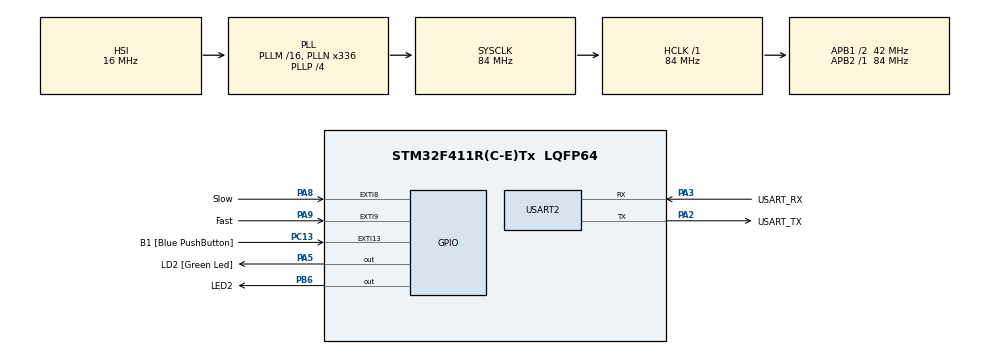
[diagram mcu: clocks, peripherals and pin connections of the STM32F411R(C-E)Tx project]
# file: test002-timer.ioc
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Mcu.Family=STM32F4
Mcu.Name=STM32F411R(C-E)Tx
Mcu.Package=LQFP64
NVIC.EXTI15_10_IRQn=true\:0\:0\:false\:false\:true\:true\:true\:true
NVIC.EXTI9_5_IRQn=true\:0\:0\:false\:false\:true\:true\:true\:true
NVIC.PriorityGroup=NVIC_PRIORITYGROUP_0
NVIC.TIM2_IRQn=true\:0\:0\:false\:false\:true\:true\:true\:true
NVIC.TIM3_IRQn=true\:0\:0\:false\:false\:true\:true\:true\:true
PA13.GPIO_Label=TMS
PA13.Mode=Serial_Wire
PA13.Signal=SYS_JTMS-SWDIO
PA14.GPIO_Label=TCK
PA14.Mode=Serial_Wire
PA14.Signal=SYS_JTCK-SWCLK
PA2.GPIO_Label=USART_TX
PA2.Mode=Asynchronous
PA2.Signal=USART2_TX
PA3.GPIO_Label=USART_RX
PA3.Mode=Asynchronous
PA3.Signal=USART2_RX
PA5.GPIO_Label=LD2 [Green Led]
PA5.Signal=GPIO_Output
PA8.GPIO_Label=Slow
PA8.Signal=GPXTI8
PA9.GPIO_Label=Fast
PA9.Signal=GPXTI9
PB3.GPIO_Label=SWO
PB3.Signal=SYS_JTDO-SWO
PB6.GPIO_Label=LED2
PB6.Signal=GPIO_Output
PC13-ANTI_TAMP.GPIO_Label=B1 [Blue PushButton]
PC13-ANTI_TAMP.GPIO_ModeDefaultEXTI=GPIO_MODE_IT_FALLING
PC13-ANTI_TAMP.Signal=GPXTI13
PC14-OSC32_IN.Mode=LSE-External-Oscillator
PC14-OSC32_IN.Signal=RCC_OSC32_IN
PC15-OSC32_OUT.Mode=LSE-External-Oscillator
PC15-OSC32_OUT.Signal=RCC_OSC32_OUT
PH0\ -\ OSC_IN.Mode=HSE-External-Clock-Source
PH0\ -\ OSC_IN.Signal=RCC_OSC_IN
PH1\ -\ OSC_OUT.Mode=HSE-External-Clock-Source
PH1\ -\ OSC_OUT.Signal=RCC_OSC_OUT
ProjectManager.HeapSize=0x200
ProjectManager.StackSize=0x400
ProjectManager.TargetToolchain=STM32CubeIDE
RCC.48MHZClocksFreq_Value=84000000
RCC.AHBFreq_Value=84000000
RCC.APB1CLKDivider=RCC_HCLK_DIV2
RCC.APB1Freq_Value=42000000
RCC.APB1TimFreq_Value=84000000
RCC.APB2Freq_Value=84000000
RCC.APB2TimFreq_Value=84000000
RCC.CortexFreq_Value=84000000
RCC.FLatency-AdvancedSettings=FLASH_LATENCY_2
RCC.HCLKFreq_Value=84000000
RCC.HSE_VALUE=8000000
RCC.HSI_VALUE=16000000
RCC.PLLN=336
RCC.PLLP=RCC_PLLP_DIV4
RCC.SYSCLKFreq_VALUE=84000000
RCC.SYSCLKSource=RCC_SYSCLKSOURCE_PLLCLK
RCC.VCOOutputFreq_Value=336000000
TIM2.Period=10000-1
TIM2.Prescaler=8400-1
TIM3.Period=10000-1
TIM3.Prescaler=8400-1
USART2.VirtualMode=VM_ASYNC
VP_TIM2_VS_ClockSourceINT.Mode=Internal
VP_TIM3_VS_ClockSourceINT.Mode=Internal
board=NUCLEO-F411RE

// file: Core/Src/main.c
/* USER CODE BEGIN Header */
/**
  ******************************************************************************
  * @file           : main.c
  * @brief          : Main program body
  ******************************************************************************
  * @attention
  *
  * Copyright (c) 2024 STMicroelectronics.
  * All rights reserved.
  *
  * This software is licensed under terms that can be found in the LICENSE file
  * in the root directory of this software component.
  * If no LICENSE file comes with this software, it is provided AS-IS.
  *
  ******************************************************************************
  */
/* USER CODE END Header */
#include "main.h"

TIM_HandleTypeDef htim2;
TIM_HandleTypeDef htim3;

UART_HandleTypeDef huart2;

void SystemClock_Config(void);
static void MX_GPIO_Init(void);
static void MX_USART2_UART_Init(void);
static void MX_TIM3_Init(void);
static void MX_TIM2_Init(void);

/* USER CODE BEGIN 0 */

void HAL_TIM_PeriodElapsedCallback(TIM_HandleTypeDef *htim)
{
	if(htim == &htim3)
	{
		HAL_GPIO_TogglePin(LD2_GPIO_Port, LD2_Pin);
	}
	if(htim == &htim2)
	{
		HAL_GPIO_TogglePin(LED2_GPIO_Port, LED2_Pin);
	}
}

int tim = 1000;

void HAL_GPIO_EXTI_Callback(uint16_t GPIO_Pin)
{
	switch(GPIO_Pin)
	{
	case Fast_Pin :
		htim3.Instance->ARR -= tim;
		if(htim3.Instance->ARR <= 1000)	htim3.Instance->ARR = 10000-1;
		break;
	case Slow_Pin :
		htim3.Instance->ARR += tim;
		break;
	}
}

/* USER CODE END 0 */

int main(void)
{

  /* MCU Configuration--------------------------------------------------------*/

  /* Reset of all peripherals, Initializes the Flash interface and the Systick. */
  HAL_Init();

  /* Configure the system clock */
  SystemClock_Config();

  /* Initialize all configured peripherals */
  MX_GPIO_Init();
  MX_USART2_UART_Init();
  MX_TIM3_Init();
  MX_TIM2_Init();
  /* USER CODE BEGIN 2 */

HAL_TIM_Base_Start_IT(&htim3);
HAL_TIM_Base_Start_IT(&htim2);

  /* USER CODE END 2 */

  /* Infinite loop */
  while (1)
  {

    /* USER CODE BEGIN 3 */

/*	  for (int i=1; i<20; i++)
	  {
		  htim3.Instance->ARR = i * 450;
		  HAL_Delay(500);
	  }*/

  }
  /* USER CODE END 3 */
}

void SystemClock_Config(void)
{
  RCC_OscInitTypeDef RCC_OscInitStruct = {0};
  RCC_ClkInitTypeDef RCC_ClkInitStruct = {0};

  /** Configure the main internal regulator output voltage
  */
  __HAL_RCC_PWR_CLK_ENABLE();
  __HAL_PWR_VOLTAGESCALING_CONFIG(PWR_REGULATOR_VOLTAGE_SCALE1);

  /** Initializes the RCC Oscillators according to the specified parameters
  * in the RCC_OscInitTypeDef structure.
  */
  RCC_OscInitStruct.OscillatorType = RCC_OSCILLATORTYPE_HSI;
  RCC_OscInitStruct.HSIState = RCC_HSI_ON;
  RCC_OscInitStruct.HSICalibrationValue = RCC_HSICALIBRATION_DEFAULT;
  RCC_OscInitStruct.PLL.PLLState = RCC_PLL_ON;
  RCC_OscInitStruct.PLL.PLLSource = RCC_PLLSOURCE_HSI;
  RCC_OscInitStruct.PLL.PLLM = 16;
  RCC_OscInitStruct.PLL.PLLN = 336;
  RCC_OscInitStruct.PLL.PLLP = RCC_PLLP_DIV4;
  RCC_OscInitStruct.PLL.PLLQ = 4;
  if (HAL_RCC_OscConfig(&RCC_OscInitStruct) != HAL_OK)
  {
    Error_Handler();
  }

  /** Initializes the CPU, AHB and APB buses clocks
  */
  RCC_ClkInitStruct.ClockType = RCC_CLOCKTYPE_HCLK|RCC_CLOCKTYPE_SYSCLK
                              |RCC_CLOCKTYPE_PCLK1|RCC_CLOCKTYPE_PCLK2;
  RCC_ClkInitStruct.SYSCLKSource = RCC_SYSCLKSOURCE_PLLCLK;
  RCC_ClkInitStruct.AHBCLKDivider = RCC_SYSCLK_DIV1;
  RCC_ClkInitStruct.APB1CLKDivider = RCC_HCLK_DIV2;
  RCC_ClkInitStruct.APB2CLKDivider = RCC_HCLK_DIV1;

  if (HAL_RCC_ClockConfig(&RCC_ClkInitStruct, FLASH_LATENCY_2) != HAL_OK)
  {
    Error_Handler();
  }
}

static void MX_TIM2_Init(void)
{

  TIM_ClockConfigTypeDef sClockSourceConfig = {0};
  TIM_MasterConfigTypeDef sMasterConfig = {0};

  htim2.Instance = TIM2;
  htim2.Init.Prescaler = 8400-1;
  htim2.Init.CounterMode = TIM_COUNTERMODE_UP;
  htim2.Init.Period = 10000-1;
  htim2.Init.ClockDivision = TIM_CLOCKDIVISION_DIV1;
  htim2.Init.AutoReloadPreload = TIM_AUTORELOAD_PRELOAD_DISABLE;
  if (HAL_TIM_Base_Init(&htim2) != HAL_OK)
  {
    Error_Handler();
  }
  sClockSourceConfig.ClockSource = TIM_CLOCKSOURCE_INTERNAL;
  if (HAL_TIM_ConfigClockSource(&htim2, &sClockSourceConfig) != HAL_OK)
  {
    Error_Handler();
  }
  sMasterConfig.MasterOutputTrigger = TIM_TRGO_RESET;
  sMasterConfig.MasterSlaveMode = TIM_MASTERSLAVEMODE_DISABLE;
  if (HAL_TIMEx_MasterConfigSynchronization(&htim2, &sMasterConfig) != HAL_OK)
  {
    Error_Handler();
  }

}

static void MX_TIM3_Init(void)
{

  TIM_ClockConfigTypeDef sClockSourceConfig = {0};
  TIM_MasterConfigTypeDef sMasterConfig = {0};

  htim3.Instance = TIM3;
  htim3.Init.Prescaler = 8400-1;
  htim3.Init.CounterMode = TIM_COUNTERMODE_UP;
  htim3.Init.Period = 10000-1;
  htim3.Init.ClockDivision = TIM_CLOCKDIVISION_DIV1;
  htim3.Init.AutoReloadPreload = TIM_AUTORELOAD_PRELOAD_DISABLE;
  if (HAL_TIM_Base_Init(&htim3) != HAL_OK)
  {
    Error_Handler();
  }
  sClockSourceConfig.ClockSource = TIM_CLOCKSOURCE_INTERNAL;
  if (HAL_TIM_ConfigClockSource(&htim3, &sClockSourceConfig) != HAL_OK)
  {
    Error_Handler();
  }
  sMasterConfig.MasterOutputTrigger = TIM_TRGO_RESET;
  sMasterConfig.MasterSlaveMode = TIM_MASTERSLAVEMODE_DISABLE;
  if (HAL_TIMEx_MasterConfigSynchronization(&htim3, &sMasterConfig) != HAL_OK)
  {
    Error_Handler();
  }

}

static void MX_USART2_UART_Init(void)
{

  huart2.Instance = USART2;
  huart2.Init.BaudRate = 115200;
  huart2.Init.WordLength = UART_WORDLENGTH_8B;
  huart2.Init.StopBits = UART_STOPBITS_1;
  huart2.Init.Parity = UART_PARITY_NONE;
  huart2.Init.Mode = UART_MODE_TX_RX;
  huart2.Init.HwFlowCtl = UART_HWCONTROL_NONE;
  huart2.Init.OverSampling = UART_OVERSAMPLING_16;
  if (HAL_UART_Init(&huart2) != HAL_OK)
  {
    Error_Handler();
  }

}

static void MX_GPIO_Init(void)
{
  GPIO_InitTypeDef GPIO_InitStruct = {0};

  /* GPIO Ports Clock Enable */
  __HAL_RCC_GPIOC_CLK_ENABLE();
  __HAL_RCC_GPIOH_CLK_ENABLE();
  __HAL_RCC_GPIOA_CLK_ENABLE();
  __HAL_RCC_GPIOB_CLK_ENABLE();

  /*Configure GPIO pin Output Level */
  HAL_GPIO_WritePin(LD2_GPIO_Port, LD2_Pin, GPIO_PIN_RESET);

  /*Configure GPIO pin Output Level */
  HAL_GPIO_WritePin(LED2_GPIO_Port, LED2_Pin, GPIO_PIN_RESET);

  /*Configure GPIO pin : B1_Pin */
  GPIO_InitStruct.Pin = B1_Pin;
  GPIO_InitStruct.Mode = GPIO_MODE_IT_FALLING;
  GPIO_InitStruct.Pull = GPIO_NOPULL;
  HAL_GPIO_Init(B1_GPIO_Port, &GPIO_InitStruct);

  /*Configure GPIO pin : LD2_Pin */
  GPIO_InitStruct.Pin = LD2_Pin;
  GPIO_InitStruct.Mode = GPIO_MODE_OUTPUT_PP;
  GPIO_InitStruct.Pull = GPIO_NOPULL;
  GPIO_InitStruct.Speed = GPIO_SPEED_FREQ_LOW;
  HAL_GPIO_Init(LD2_GPIO_Port, &GPIO_InitStruct);

  /*Configure GPIO pins : Slow_Pin Fast_Pin */
  GPIO_InitStruct.Pin = Slow_Pin|Fast_Pin;
  GPIO_InitStruct.Mode = GPIO_MODE_IT_RISING;
  GPIO_InitStruct.Pull = GPIO_NOPULL;
  HAL_GPIO_Init(GPIOA, &GPIO_InitStruct);

  /*Configure GPIO pin : LED2_Pin */
  GPIO_InitStruct.Pin = LED2_Pin;
  GPIO_InitStruct.Mode = GPIO_MODE_OUTPUT_PP;
  GPIO_InitStruct.Pull = GPIO_NOPULL;
  GPIO_InitStruct.Speed = GPIO_SPEED_FREQ_LOW;
  HAL_GPIO_Init(LED2_GPIO_Port, &GPIO_InitStruct);

  /* EXTI interrupt init*/
  HAL_NVIC_SetPriority(EXTI9_5_IRQn, 0, 0);
  HAL_NVIC_EnableIRQ(EXTI9_5_IRQn);

  HAL_NVIC_SetPriority(EXTI15_10_IRQn, 0, 0);
  HAL_NVIC_EnableIRQ(EXTI15_10_IRQn);

}

void Error_Handler(void)
{
  __disable_irq();
  while (1)
  {
  }
}
